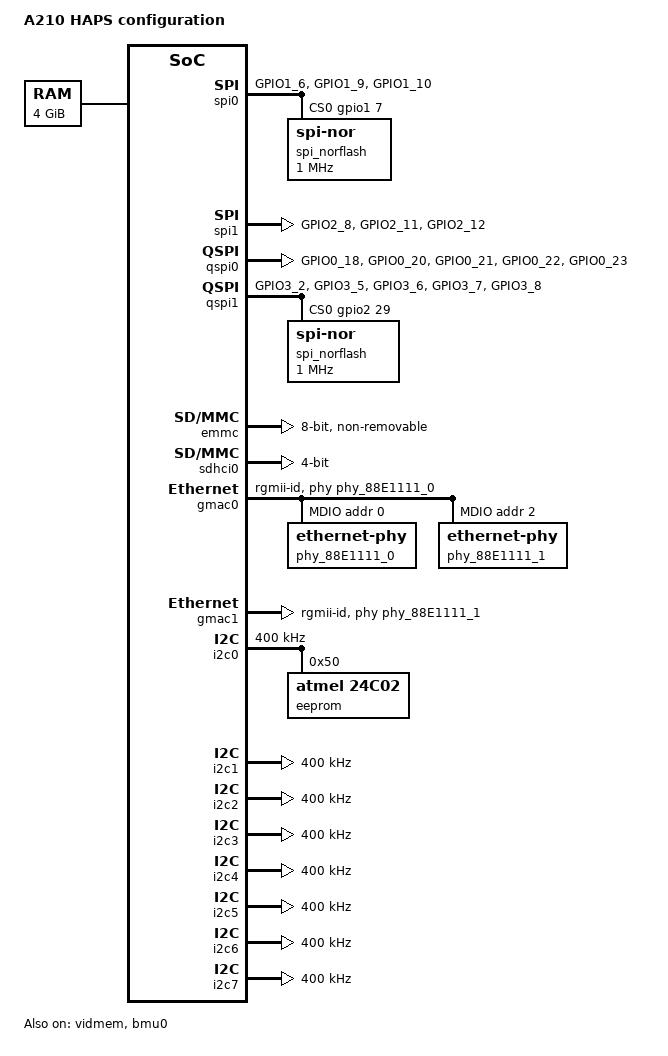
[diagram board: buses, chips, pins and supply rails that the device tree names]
/dts-v1/;

#include "a210-soc-core.dtsi"
#include "a210-soc-peri.dtsi"
#include "a210-platform-haps.dtsi"

#define SOUND_CARD_LINK(REG, FMT, CPU, M, CODEC, N) \
	simple-audio-card,dai-link@##REG { \
		reg = <REG>; \
		format = #FMT; \
		cpu { \
			sound-dai = <&audio_##CPU M>; \
		}; \
		codec { \
			sound-dai = <&codec_##CODEC N>; \
		}; \
	}

/ {
	model = "A210 HAPS configuration";

	aliases {
		ethernet0 = &gmac0;
		ethernet1 = &gmac1;

		gpio0 = &gpio0;
		gpio1 = &gpio1;
		gpio2 = &gpio2;
		gpio3 = &gpio3;
		gpio4 = &gpio4;

		i2c0 = &i2c0;
		i2c1 = &i2c1;
		i2c2 = &i2c2;
		i2c3 = &i2c3;
		i2c4 = &i2c4;
		i2c5 = &i2c5;
		i2c6 = &i2c6;
		i2c7 = &i2c7;

		can0 = &can0;
		can1 = &can1;
		can2 = &can2;
		mmc0 = &emmc;
		mmc1 = &sdhci0;
		serial0 = &uart0;
		serial1 = &uart1;
		serial2 = &uart2;
		serial3 = &uart3;
		serial4 = &uart4;
		serial5 = &uart5;
		serial6 = &uart6;
		serial7 = &uart7;
		serial8 = &uart8;
		serial9 = &uart9;
		spi0 = &spi0;
		spi1 = &spi1;
		qspi0 = &qspi0;
		qspi1 = &qspi1;
		pcie3x4 = &dm3x4;
		pcie3x1 = &rp3x1;
	};

	/* The first 2M will be reserved in the Kernel, and the entire available range is set here */
	memory@0 {
		device_type = "memory";
		reg = <0x00 0x80000000  0x01 0x00000000>; /* 4G - 64MB */
		numa-node-id = <0>;
	};

	reserved-memory {
		#address-cells = <0x02>;
		#size-cells = <0x02>;
		ranges;

		linux,cma {
			compatible = "shared-dma-pool";
			reusable;
			size = <0x00 0x4000000>;
			alloc-ranges = <0x00 0x90000000 0x00 0x4000000>;
			linux,cma-default;
		};

		memory@1c000000 {
			reg = <0x00 0x1c000000 0x00 0x2000000>;
			no-map;
		};

		framebuffer: framebuffer@10000000 {
			reg = <0x01 0x00 0x00 0x20000000>;
			no-map;
		};

		zh_videomem@100000000 {
			reg = <0x01 0x00 0x00 0x20000000>;
			no-map;
		};

		memblock-memory@17b800000 {
			reg = <0x01 0x7b800000 0x00 0x04000000>;
			no-map;
		};
	};

	/* The bootargs in U-Boot will override the configuration set here. */
	chosen {
		stdout-path = "serial4";
	};

	codec_dummy_i2s: codec_dummy_i2s {
		compatible = "zhihe,dummy-pcm-i2s";
		sound-name-prefix = "DUMMY";
		#address-cells = <0>;
		#size-cells = <0>;
		#sound-dai-cells = <1>;
		status = "okay";
	};

	codec_dummy_i2s_8ch: codec_dummy_i2s_8ch {
		compatible = "zhihe,dummy-pcm-i2s-8ch";
		sound-name-prefix = "DUMMY";
		#address-cells = <0>;
		#size-cells = <0>;
		#sound-dai-cells = <1>;
		status = "okay";
	};

	codec_dummy_tdm: codec_dummy_tdm {
		compatible = "zhihe,dummy-pcm-tdm";
		sound-name-prefix = "DUMMY";
		#address-cells = <0>;
		#size-cells = <0>;
		#sound-dai-cells = <1>;
		status = "okay";
	};

	codec_dummy_pdm0: codec_dummy_pdm0 {
		compatible = "zhihe,dummy-pcm-pdm";
		sound-name-prefix = "DMIC0";
		#address-cells = <0>;
		#size-cells = <0>;
		#sound-dai-cells = <1>;
		status = "okay";
	};

	codec_dummy_pdm1: codec_dummy_pdm1 {
		compatible = "zhihe,dummy-pcm-pdm";
		sound-name-prefix = "DMIC1";
		#address-cells = <0>;
		#size-cells = <0>;
		#sound-dai-cells = <1>;
		status = "okay";
	};

	codec_dummy_pdm2: codec_dummy_pdm2 {
		compatible = "zhihe,dummy-pcm-pdm";
		sound-name-prefix = "DMIC2";
		#address-cells = <0>;
		#size-cells = <0>;
		#sound-dai-cells = <1>;
		status = "okay";
	};

	codec_dummy_pdm3: codec_dummy_pdm3 {
		compatible = "zhihe,dummy-pcm-pdm";
		sound-name-prefix = "DMIC3";
		#address-cells = <0>;
		#size-cells = <0>;
		#sound-dai-cells = <1>;
		status = "okay";
	};

	codec_dummy_pdm4: codec_dummy_pdm4 {
		compatible = "zhihe,dummy-pcm-pdm";
		sound-name-prefix = "DMIC4";
		#address-cells = <0>;
		#size-cells = <0>;
		#sound-dai-cells = <1>;
		status = "okay";
	};

	codec_dummy_pdm5: codec_dummy_pdm5 {
		compatible = "zhihe,dummy-pcm-pdm";
		sound-name-prefix = "DMIC5";
		#address-cells = <0>;
		#size-cells = <0>;
		#sound-dai-cells = <1>;
		status = "okay";
	};

	codec_dummy_pdm6: codec_dummy_pdm6 {
		compatible = "zhihe,dummy-pcm-pdm";
		sound-name-prefix = "DMIC6";
		#address-cells = <0>;
		#size-cells = <0>;
		#sound-dai-cells = <1>;
		status = "okay";
	};

	codec_dummy_pdm7: codec_dummy_pdm7 {
		compatible = "zhihe,dummy-pcm-pdm";
		sound-name-prefix = "DMIC7";
		#address-cells = <0>;
		#size-cells = <0>;
		#sound-dai-cells = <1>;
		status = "okay";
	};

	sound_i2s {
		compatible = "simple-audio-card";
		simple-audio-card,name = "Sound-Card-I2S";
		#address-cells = <1>;
		#size-cells = <0>;
		status = "okay";

		SOUND_CARD_LINK(0, i2s, i2s0, 0, dummy_i2s, 0);  /* I2S0 <-> DUMMY_CODEC */
		SOUND_CARD_LINK(1, i2s, i2s1, 0, dummy_i2s, 0);  /* I2S1 <-> DUMMY_CODEC */
		SOUND_CARD_LINK(2, i2s, i2s2, 0, dummy_i2s, 0);  /* I2S2 <-> DUMMY_CODEC */
	};

	sound_i2s_8ch {
		compatible = "simple-audio-card";
		simple-audio-card,name = "Sound-Card-I2S-8CH";
		#address-cells = <1>;
		#size-cells = <0>;
		status = "okay";

		SOUND_CARD_LINK(0, i2s, i2s_8ch_sd0, 0, dummy_i2s_8ch, 0);  /* i2s_8ch_sd0 <-> DUMMY_CODEC */
		SOUND_CARD_LINK(1, i2s, i2s_8ch_sd1, 0, dummy_i2s_8ch, 0);  /* i2s_8ch_sd1 <-> DUMMY_CODEC */
		SOUND_CARD_LINK(2, i2s, i2s_8ch_sd2, 0, dummy_i2s_8ch, 0);  /* i2s_8ch_sd2 <-> DUMMY_CODEC */
		SOUND_CARD_LINK(3, i2s, i2s_8ch_sd3, 0, dummy_i2s_8ch, 0);  /* i2s_8ch_sd3 <-> DUMMY_CODEC */
	};

	sound_tdm {
		compatible = "simple-audio-card";
		simple-audio-card,name = "Sound-Card-TDM";
		#address-cells = <1>;
		#size-cells = <0>;
		status = "okay";

		SOUND_CARD_LINK(0, dsp_a, tdm_slot0, 0, dummy_tdm, 0);  /* TDM_SLOT0 <-> DUMMY_CODEC */
		SOUND_CARD_LINK(1, dsp_a, tdm_slot1, 0, dummy_tdm, 0);  /* TDM_SLOT1 <-> DUMMY_CODEC */
		SOUND_CARD_LINK(2, dsp_a, tdm_slot2, 0, dummy_tdm, 0);  /* TDM_SLOT2 <-> DUMMY_CODEC */
		SOUND_CARD_LINK(3, dsp_a, tdm_slot3, 0, dummy_tdm, 0);  /* TDM_SLOT3 <-> DUMMY_CODEC */
		SOUND_CARD_LINK(4, dsp_a, tdm_slot4, 0, dummy_tdm, 0);  /* TDM_SLOT4 <-> DUMMY_CODEC */
		SOUND_CARD_LINK(5, dsp_a, tdm_slot5, 0, dummy_tdm, 0);  /* TDM_SLOT5 <-> DUMMY_CODEC */
		SOUND_CARD_LINK(6, dsp_a, tdm_slot6, 0, dummy_tdm, 0);  /* TDM_SLOT6 <-> DUMMY_CODEC */
		SOUND_CARD_LINK(7, dsp_a, tdm_slot7, 0, dummy_tdm, 0);  /* TDM_SLOT7 <-> DUMMY_CODEC */
	};

	sound_pdm {
		compatible = "simple-audio-card";
		simple-audio-card,name = "Sound-Card-PDM";
		#address-cells = <1>;
		#size-cells = <0>;
		status = "okay";

		SOUND_CARD_LINK(0, pdm, pdm0, 0, dummy_pdm0, 0);  /* PDM <-> Dmic */
		SOUND_CARD_LINK(1, pdm, pdm1, 1, dummy_pdm1, 0);  /* PDM <-> Dmic */
		SOUND_CARD_LINK(2, pdm, pdm2, 2, dummy_pdm2, 0);  /* PDM <-> Dmic */
		SOUND_CARD_LINK(3, pdm, pdm3, 3, dummy_pdm3, 0);  /* PDM <-> Dmic */
		SOUND_CARD_LINK(4, pdm, pdm4, 4, dummy_pdm4, 0);  /* PDM <-> Dmic */
		SOUND_CARD_LINK(5, pdm, pdm5, 5, dummy_pdm5, 0);  /* PDM <-> Dmic */
		SOUND_CARD_LINK(6, pdm, pdm6, 6, dummy_pdm6, 0);  /* PDM <-> Dmic */
		SOUND_CARD_LINK(7, pdm, pdm7, 7, dummy_pdm7, 0);  /* PDM <-> Dmic */
	};
};

&clk {
	compatible = "zhihe,p100-clk-haps";
	/* pll */
	audio0_pll_foutvco_frequency = <150000000>;
	audio1_pll_foutvco_frequency = <80000000>;
	video_pll_foutvco_frequency = <80000000>;
	gmac_pll_foutvco_frequency = <300000000>;
	dvfs_pll_foutvco_frequency = <150000000>;
	tee_pll_foutvco_frequency = <130000000>;
	/* top */
	top_cfg_aclk_frequency = <10000000>;
	top_pclk_frequency = <10000000>;
	top_amux_clk_frequency = <20000000>;
	iommu_ptw_aclk_frequency = <10000000>;
	noc_cclk_frequency = <792000000>;
};

&clk_peri {
	peri0_timer_clk_frequency = <10000000>;
	peri1_i2s0_src_clk_frequency = <10000000>;
	peri2_i2s1_src_clk_frequency = <10000000>;
	peri2_i2s2_src_clk_frequency = <10000000>;
	peri2_i2s3_src_clk_frequency = <10000000>;
	peri1_spi_ssi_clk_frequency = <10000000>;
	peri2_spi_ssi_clk_frequency = <10000000>;
	peri1_qspi_ssi_clk_frequency = <10000000>;
	peri2_qspi_ssi_clk_frequency = <10000000>;
	peri1_pdm_mclk_frequency = <10000000>;
	uart_sclk_frequency = <10000000>;
	peri1_tdm_src_clk_frequency = <10000000>;
	peri1_hires_clk_frequency = <10000000>;
	peri2_hires_clk_frequency = <10000000>;
	emmc_ref_clk_frequency = <10000000>;
	peri1_mst_aclk_frequency = <10000000>;
	peri3_mst_aclk_frequency = <10000000>;
};

&clk_vi {
	/* Reg_base redirect to BRAM */
	reg = <0x00 0x00100000 0x0 0x1000>;
};

&clk_vp {
	/* Reg_base redirect to BRAM */
	reg = <0x00 0x00101000 0x0 0x1000>;
};

&clk_vo {
	/* Reg_base redirect to BRAM */
	reg = <0x00 0x00102000 0x0 0x1000>;
};

&spi0 {
	cs-gpios = <&gpio1 7 0>;
	rx-sample-delay-ns = <10>;
	pinctrl-names = "default";
	pinctrl-0 = <&spi0_pins>;

	spi_norflash@0 {
		status = "okay";
		#address-cells = <1>;
		#size-cells = <1>;
		compatible = "jedec,spi-nor";
		reg = <0>;
		spi-max-frequency = <1000000>;
		w25q,fast-read;
	};

	spidev@1 {
		status = "disabled";
		compatible = "spidev";
		#address-cells = <0x1>;
		#size-cells = <0x1>;
		reg = <0x1>;
		spi-max-frequency = <1000000>;
	};
};

&spi1 {
	// cs-gpios = <&gpio2 15 0>;
	rx-sample-delay-ns = <10>;
	pinctrl-names = "default";
	pinctrl-0 = <&spi1_pins>;

	spi_norflash@0 {
		status = "disabled";
		#address-cells = <1>;
		#size-cells = <1>;
		compatible = "jedec,spi-nor";
		reg = <0>;
		spi-max-frequency = <1000000>;
		w25q,fast-read;
	};
};

&qspi0 {
	cs-gpios = <&gpio0 19 0>;
	rx-sample-dly = <4>;
	pinctrl-names = "default";
	pinctrl-0 = <&qspi0_pins>;

	spi_norflash@0 {
		status = "disabled";
		compatible = "jedec,spi-nor";
		reg = <0>;
		#address-cells = <1>;
		#size-cells = <1>;
		spi-tx-bus-width = <4>;
		spi-rx-bus-width = <4>;
		spi-max-frequency = <1000000>;
	};

	spi-nandflash@1 {
		status = "disabled";
		#address-cells = <1>;
		#size-cells = <1>;
		compatible = "spi-nand";
		spi-max-frequency = <1000000>;
		spi-tx-bus-width = <4>;
		spi-rx-bus-width = <4>;
		reg = <1>;

		partition@0 {
			label = "nand0";
			reg = <0x00000000 0x08000000>;
		};
	};
};

&qspi1 {
	cs-gpios = <&gpio2 29 0>;
	rx-sample-dly = <4>;
	pinctrl-names = "default";
	pinctrl-0 = <&qspi1_pins>;

	spi_norflash@0 {
		status = "okay";
		compatible = "jedec,spi-nor";
		reg = <0>;
		#address-cells = <1>;
		#size-cells = <1>;
		spi-tx-bus-width = <4>;
		spi-rx-bus-width = <4>;
		spi-max-frequency = <1000000>;
	};

	spi-nandflash@1 {
		status = "disabled";
		#address-cells = <1>;
		#size-cells = <1>;
		compatible = "spi-nand";
		spi-max-frequency = <1000000>;
		spi-tx-bus-width = <4>;
		spi-rx-bus-width = <4>;
		reg = <1>;

		partition@0 {
			label = "nand1";
			reg = <0x00000000 0x08000000>;
		};
	};
};

&emmc {
	max-frequency = <400000>;
	non-removable;
	mmc-hs200-1_8v;
	io_fixed_1v8;
	is_emmc;
	no-sdio;
	no-sd;
	pull_up;
	bus-width = <8>;
};

&sdhci0 {
	max-frequency = <400000>;
	bus-width = <4>;
	pull_up;
	wprtn_ignore;
};

&gmac0 {
	phy-mode = "rgmii-id";
	rx-clk-delay = <0x00>; /* for RGMII */
	tx-clk-delay = <0x00>; /* for RGMII */
	phy-handle = <&phy_88E1111_0>;

	mdio0 {
		#address-cells = <1>;
		#size-cells = <0>;
		compatible = "snps,dwmac-mdio";

		phy_88E1111_0: ethernet-phy@0 {
			reg = <0x0>;
		};

		phy_88E1111_1: ethernet-phy@1 {
			reg = <0x2>;
		};
	};
};

&gmac1 {
	phy-mode = "rgmii-id";
	rx-clk-delay = <0x00>; /* for RGMII */
	tx-clk-delay = <0x00>; /* for RGMII */
	phy-handle = <&phy_88E1111_1>;
};

&vidmem {
  status = "okay";
  memory-region = <&framebuffer>;
};

&peri1_padctrl {
	spi0_pins: spi0-0 {
		spi-pins {
			pins = "GPIO1_6", "GPIO1_9", "GPIO1_10";
			function = "spi0";
			bias-disable;
			drive-strength = <7>;
			input-enable;
			input-schmitt-enable;
			slew-rate = <0>;
		};
	};

	qspi0_pins: qspi0-0 {
		qspi-pins {
			pins = "GPIO0_18", "GPIO0_20", "GPIO0_21", "GPIO0_22", "GPIO0_23";
			function = "qspi0";
			bias-disable;
			drive-strength = <7>;
			input-enable;
			input-schmitt-enable;
			slew-rate = <0>;
		};
	};
};

&peri2_padctrl {
	spi1_pins: spi1-0 {
		spi-pins {
			pins = "GPIO2_8", "GPIO2_11", "GPIO2_12";
			function = "spi1";
			bias-disable;
			drive-strength = <7>;
			input-enable;
			input-schmitt-enable;
			slew-rate = <0>;
		};
	};

	qspi1_pins: qspi1-0 {
		qspi-pins {
			pins = "GPIO3_2", "GPIO3_5", "GPIO3_6", "GPIO3_7", "GPIO3_8";
			function = "qspi1";
			bias-disable;
			drive-strength = <7>;
			input-enable;
			input-schmitt-enable;
			slew-rate = <0>;
		};
	};
};

&i2c0 {
	clock-frequency = <400000>;

	eeprom@50 {
		status = "okay";
		compatible = "atmel,24c02";
		reg = <0x50>;
		pagesize = <16>;
	};
};

&i2c1 {
	clock-frequency = <400000>;
};

&i2c2 {
	clock-frequency = <400000>;
};

&i2c3 {
	clock-frequency = <400000>;
};

&i2c4 {
	clock-frequency = <400000>;
};

&i2c5 {
	clock-frequency = <400000>;
};

&i2c6 {
	clock-frequency = <400000>;
};

&i2c7 {
	clock-frequency = <400000>;

	tmp102@49 {
		status = "disabled";
		compatible = "ti,tmp102";
		host-notify;
		reg = <0x49>;
	};
};

&vp_dfmu_iommu {
    status = "disabled";
};

&vp_dfmu_mt {
    status = "disabled";
};

&npu_dfmu_iommu {
    status = "disabled";
};

&npu_dfmu_mt {
    status = "disabled";
};

&vi_dfmu_iommu {
    status = "disabled";
};

&vi_dfmu_mt {
    status = "disabled";
};

&vo_dfmu_iommu {
    status = "disabled";
};

&vo_dfmu_mt {
    status = "disabled";
};

&peri1_dfmu_iommu {
    status = "disabled";
};

&peri1_dfmu_mt {
    status = "disabled";
};

&pcie_dfmu_iommu {
    status = "disabled";
};

&pcie_dfmu_mt {
    status = "disabled";
};

&usb_dfmu_iommu {
    status = "disabled";
};

&usb_dfmu_mt {
    status = "disabled";
};

&bmu0 {
        status = "okay";
};

&bmu1 {
        status = "disabled";
};

&bmu2 {
        status = "disabled";
};

&bmu3 {
        status = "disabled";
};

&bmu4 {
        status = "disabled";
};

&bmu5 {
        status = "disabled";
};

&bmu6 {
        status = "disabled";
};

&bmu7 {
        status = "disabled";
};

&bmu8 {
        status = "disabled";
};

&bmu9 {
        status = "disabled";
};
